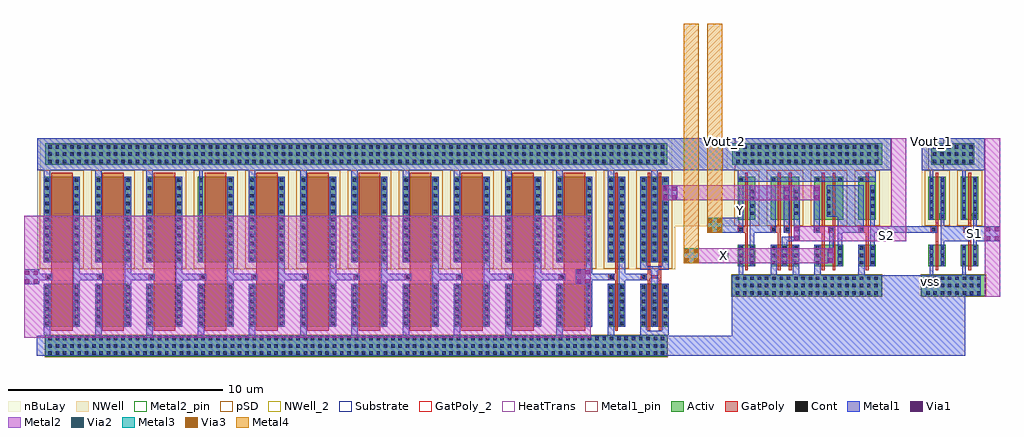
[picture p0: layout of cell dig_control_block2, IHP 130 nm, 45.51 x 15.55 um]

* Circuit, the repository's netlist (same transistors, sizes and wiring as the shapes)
** sch_path: /shared/designs/Layouts/Dig_control/dig_control_block2.sch
.subckt dig_control_block2 Vout_2 vss X Y S2 S1 Vout_1
*.PININFO Vout_2:B vss:B X:I Y:I S2:O S1:O Vout_1:B
M1 net1 net2 vss vss sg13_lv_nmos w=2u l=1u ng=1 m=1
M2 net1 net2 Vout_2 well sg13_lv_pmos w=4u l=1u ng=1 m=1
M3 net3 net1 vss vss sg13_lv_nmos w=2u l=1u ng=1 m=1
M4 net3 net1 Vout_2 well sg13_lv_pmos w=4u l=1u ng=1 m=1
M5 net4 net3 vss vss sg13_lv_nmos w=2u l=1u ng=1 m=1
M6 net4 net3 Vout_2 well sg13_lv_pmos w=4u l=1u ng=1 m=1
M7 net5 net4 vss vss sg13_lv_nmos w=2u l=1u ng=1 m=1
M8 net5 net4 Vout_2 well sg13_lv_pmos w=4u l=1u ng=1 m=1
M9 net6 net5 vss vss sg13_lv_nmos w=2u l=1u ng=1 m=1
M10 net6 net5 Vout_2 well sg13_lv_pmos w=4u l=1u ng=1 m=1
M11 net7 net6 vss vss sg13_lv_nmos w=2u l=1u ng=1 m=1
M12 net7 net6 Vout_2 well sg13_lv_pmos w=4u l=1u ng=1 m=1
M13 net8 net7 vss vss sg13_lv_nmos w=2u l=1u ng=1 m=1
M14 net8 net7 Vout_2 well sg13_lv_pmos w=4u l=1u ng=1 m=1
M15 net9 net8 vss vss sg13_lv_nmos w=2u l=1u ng=1 m=1
M16 net9 net8 Vout_2 well sg13_lv_pmos w=4u l=1u ng=1 m=1
M17 net10 net9 vss vss sg13_lv_nmos w=2u l=1u ng=1 m=1
M18 net10 net9 Vout_2 well sg13_lv_pmos w=4u l=1u ng=1 m=1
M19 net11 net10 vss vss sg13_lv_nmos w=2u l=1u ng=1 m=1
M20 net11 net10 Vout_2 well sg13_lv_pmos w=4u l=1u ng=1 m=1
M21 net2 net11 vss vss sg13_lv_nmos w=2u l=1u ng=1 m=1
M22 net2 net11 Vout_2 well sg13_lv_pmos w=4u l=1u ng=1 m=1
M23 net12 net2 vss vss sg13_lv_nmos w=2u l=0.13u ng=1 m=1
M24 net12 net2 Vout_2 well sg13_lv_pmos w=4u l=0.13u ng=1 m=1
M26 net13 net12 Vout_2 well sg13_lv_pmos w=8u l=0.13u ng=2 m=1
M25 net13 net12 vss vss sg13_lv_nmos w=4u l=0.13u ng=2 m=1
R1 Vout_2 well ntap1 A=2.9e-11 P=6e-05
M27 net15 X Vout_2 well sg13_lv_pmos w=2u l=0.13u ng=1 m=1
M28 net15 net13 Vout_2 well sg13_lv_pmos w=2u l=0.13u ng=1 m=1
M29 net15 X net17 vss sg13_lv_nmos w=1u l=0.13u ng=1 m=1
M30 net17 net13 vss vss sg13_lv_nmos w=1u l=0.13u ng=1 m=1
M31 net14 net15 Vout_2 well sg13_lv_pmos w=2u l=0.13u ng=1 m=1
M32 net14 net15 vss vss sg13_lv_nmos w=1u l=0.13u ng=1 m=1
M33 net16 Y Vout_2 well sg13_lv_pmos w=2u l=0.13u ng=1 m=1
M34 net16 Y vss vss sg13_lv_nmos w=1u l=0.13u ng=1 m=1
M35 net18 net16 Vout_2 well sg13_lv_pmos w=2u l=0.13u ng=1 m=1
M36 S2 net13 net18 well sg13_lv_pmos w=2u l=0.13u ng=1 m=1
M37 S2 net16 vss vss sg13_lv_nmos w=1u l=0.13u ng=1 m=1
M38 S2 net13 vss vss sg13_lv_nmos w=1u l=0.13u ng=1 m=1
R2 Vout_2 well ntap1 A=7e-12 P=1.6e-05
M39 net19 net14 Vout_1 well_1 sg13_lv_pmos w=2u l=0.13u ng=1 m=1
M40 net19 net14 vss vss sg13_lv_nmos w=1u l=0.13u ng=1 m=1
M41 S1 net19 Vout_1 well_1 sg13_lv_pmos w=2u l=0.13u ng=1 m=1
M42 S1 net19 vss vss sg13_lv_nmos w=1u l=0.13u ng=1 m=1
R3 Vout_1 well_1 ntap1 A=2e-12 P=6e-06
.ends

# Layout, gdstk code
import gdstk
lib = gdstk.Library(unit=1e-6, precision=5e-09)
def R(c, l, rs):  # rectangles x0, y0, x1, y1
    for r in rs: c.add(gdstk.rectangle(r[:2], r[2:], *l))
def A(c, l, x, y, w, h, nx, ny, dx, dy):  # array of equal rectangles
    R(c, l, [(x+i*dx, y+j*dy, x+i*dx+w, y+j*dy+h) for i in range(nx) for j in range(ny)])
def P(c, l, *ps):  # polygons
    for p in ps: c.add(gdstk.Polygon(p, *l))
Activ = (1, 0)
GatPoly = (5, 0)
GatPoly_2 = (5, 2)
Cont = (6, 0)
Metal1 = (8, 0)
Metal1_pin = (8, 2)
Metal2 = (10, 0)
Metal2_pin = (10, 2)
pSD = (14, 0)
Via1 = (19, 0)
Via2 = (29, 0)
Metal3 = (30, 0)
NWell = (31, 0)
NWell_2 = (31, 2)
nBuLay = (32, 0)
Substrate = (40, 0)
Via3 = (49, 0)
Metal4 = (50, 0)
HeatTrans = (51, 0)

via_stack = lib.new_cell('via_stack')
R(via_stack, Metal1, [(-0.145,-0.35,0.145,0.35)])
R(via_stack, Metal2, [(-0.145,-0.35,0.145,0.35)])
R(via_stack, Via1, [(-0.095,-0.3,0.095,-0.11), (-0.095,0.11,0.095,0.3)])

ntap1 = lib.new_cell('ntap1')
R(ntap1, Activ, [(0,0,7,1)])
A(ntap1, Cont, 0.19, 0.08, 0.16, 0.16, 20, 3, 0.34, 0.34)
R(ntap1, Metal1, [(0.19,0.03,6.81,0.97)])
R(ntap1, Metal1_pin, [(0.19,0.03,6.81,0.97), (0.19,0.08,6.81,0.92)])
R(ntap1, NWell, [(-0.24,-0.24,7.24,1.24), (0,0,7,1)])
R(ntap1, NWell_2, [(0,0,7,1)])
R(ntap1, nBuLay, [(-0.24,-0.24,7.24,1.24)])
ntap1.add(gdstk.Label('well', (3.5,0.01), layer=31, texttype=0))
ntap1.add(gdstk.Label('well', (3.5,0.01), layer=63, texttype=0))

pmos = lib.new_cell('pmos')
R(pmos, Activ, [(0,0,0.3,0.3), (0,0,0.81,2), (0.51,0,0.81,0.3)])
R(pmos, GatPoly, [(0.34,-0.18,0.47,2.18), (0.34,-0.18,0.47,2.18)])
A(pmos, Cont, 0.07, 0.07, 0.16, 0.16, 1, 6, 0, 0.34)
A(pmos, Cont, 0.58, 0.07, 0.16, 0.16, 1, 6, 0, 0.34)
R(pmos, Metal1, [(0.07,0,0.23,2), (0.07,0,0.23,2), (0.58,0,0.74,2), (0.58,0,0.74,2)])
R(pmos, pSD, [(-0.18,-0.3,0.99,2.3)])
R(pmos, NWell, [(-0.31,-0.31,1.12,2.31)])
R(pmos, Substrate, [(0.51,0,0.81,0.3)])
R(pmos, HeatTrans, [(0.34,-0.18,0.47,2.18)])
pmos.add(gdstk.Label('pmos', (0.405,1), layer=63, texttype=0))
pmos.add(gdstk.Label('pmos', (0.405,1), layer=51, texttype=0))

nmos = lib.new_cell('nmos')
R(nmos, Activ, [(0,0,0.3,0.3), (0,0,0.81,1), (0.51,0,0.81,0.3)])
R(nmos, GatPoly, [(0.34,-0.18,0.47,1.18)])
R(nmos, GatPoly_2, [(0.34,-0.18,0.47,1.18)])
A(nmos, Cont, 0.07, 0.07, 0.16, 0.16, 1, 3, 0, 0.35)
A(nmos, Cont, 0.58, 0.07, 0.16, 0.16, 1, 3, 0, 0.35)
R(nmos, Metal1, [(0.07,0,0.23,1), (0.58,0,0.74,1)])
R(nmos, Metal1_pin, [(0.07,0,0.23,1), (0.58,0,0.74,1)])
R(nmos, HeatTrans, [(0.34,-0.18,0.47,1.18)])
nmos.add(gdstk.Label('nmos', (0.405,0.5), layer=63, texttype=0))
nmos.add(gdstk.Label('nmos', (0.405,0.5), layer=51, texttype=0))

ntap1_1 = lib.new_cell('ntap1$1')
R(ntap1_1, Activ, [(0,0,2,1)])
A(ntap1_1, Cont, 0.07, 0.08, 0.16, 0.16, 6, 3, 0.34, 0.34)
R(ntap1_1, Metal1, [(0.07,0.03,1.93,0.97)])
R(ntap1_1, Metal1_pin, [(0.07,0.03,1.93,0.97), (0.07,0.08,1.93,0.92)])
R(ntap1_1, NWell, [(-0.24,-0.24,2.24,1.24), (0,0,2,1)])
R(ntap1_1, NWell_2, [(0,0,2,1)])
R(ntap1_1, nBuLay, [(-0.24,-0.24,2.24,1.24)])
ntap1_1.add(gdstk.Label('well', (1,0.01), layer=31, texttype=0))
ntap1_1.add(gdstk.Label('well', (1,0.01), layer=63, texttype=0))

nmos_1 = lib.new_cell('nmos$1')
R(nmos_1, Activ, [(0,0,0.3,0.3), (0,0,1.68,2), (1.38,0,1.68,0.3)])
R(nmos_1, GatPoly, [(0.34,-0.18,1.34,2.18)])
R(nmos_1, GatPoly_2, [(0.34,-0.18,1.34,2.18)])
A(nmos_1, Cont, 0.07, 0.07, 0.16, 0.16, 1, 6, 0, 0.34)
A(nmos_1, Cont, 1.45, 0.07, 0.16, 0.16, 1, 6, 0, 0.34)
R(nmos_1, Metal1, [(0.07,0,0.23,2), (1.45,0,1.61,2)])
R(nmos_1, Metal1_pin, [(0.07,0,0.23,2), (1.45,0,1.61,2)])
R(nmos_1, HeatTrans, [(0.34,-0.18,1.34,2.18)])
nmos_1.add(gdstk.Label('nmos', (0.84,1), layer=63, texttype=0))
nmos_1.add(gdstk.Label('nmos', (0.84,1), layer=51, texttype=0))

pmos_1 = lib.new_cell('pmos$1')
R(pmos_1, Activ, [(0,0,0.3,0.3), (0,0,1.68,4), (1.38,0,1.68,0.3)])
R(pmos_1, GatPoly, [(0.34,-0.18,1.34,4.18), (0.34,-0.18,1.34,4.18)])
A(pmos_1, Cont, 0.07, 0.07, 0.16, 0.16, 1, 11, 0, 0.37)
A(pmos_1, Cont, 1.45, 0.07, 0.16, 0.16, 1, 11, 0, 0.37)
R(pmos_1, Metal1, [(0.07,0,0.23,4), (0.07,0,0.23,4), (1.45,0,1.61,4), (1.45,0,1.61,4)])
R(pmos_1, pSD, [(-0.18,-0.3,1.86,4.3)])
R(pmos_1, NWell, [(-0.31,-0.31,1.99,4.31)])
R(pmos_1, Substrate, [(1.38,0,1.68,0.3)])
R(pmos_1, HeatTrans, [(0.34,-0.18,1.34,4.18)])
pmos_1.add(gdstk.Label('pmos', (0.84,2), layer=63, texttype=0))
pmos_1.add(gdstk.Label('pmos', (0.84,2), layer=51, texttype=0))

via_stack_1 = lib.new_cell('via_stack$1')
R(via_stack_1, Metal1, [(-0.35,-0.35,0.35,0.35)])
R(via_stack_1, Metal2, [(-0.35,-0.35,0.35,0.35)])
R(via_stack_1, Via1, [(-0.3,-0.3,-0.11,-0.11), (0.11,-0.3,0.3,-0.11), (-0.3,0.11,-0.11,0.3), (0.11,0.11,0.3,0.3)])

nmos_2 = lib.new_cell('nmos$2')
A(nmos_2, Activ, 0, 0, 0.3, 0.3, 3, 1, 0.51, 0)
R(nmos_2, Activ, [(0,0,1.32,2)])
R(nmos_2, GatPoly, [(0.34,-0.18,0.47,2.18), (0.85,-0.18,0.98,2.18)])
R(nmos_2, GatPoly_2, [(0.34,-0.18,0.47,2.18)])
A(nmos_2, Cont, 0.07, 0.07, 0.16, 0.16, 3, 6, 0.51, 0.34)
A(nmos_2, Metal1, 0.07, 0, 0.16, 2, 3, 1, 0.51, 0)
R(nmos_2, Metal1_pin, [(0.07,0,0.23,2), (0.58,0,0.74,2)])
R(nmos_2, HeatTrans, [(0.34,-0.18,0.47,2.18), (0.85,-0.18,0.98,2.18)])
nmos_2.add(gdstk.Label('nmos', (0.405,1), layer=63, texttype=0))
nmos_2.add(gdstk.Label('nmos', (0.405,1), layer=51, texttype=0))
nmos_2.add(gdstk.Label('nmos', (0.915,1), layer=51, texttype=0))

pmos_2 = lib.new_cell('pmos$2')
A(pmos_2, Activ, 0, 0, 0.3, 0.3, 3, 1, 0.51, 0)
R(pmos_2, Activ, [(0,0,1.32,4)])
R(pmos_2, GatPoly, [(0.34,-0.18,0.47,4.18), (0.34,-0.18,0.47,4.18), (0.85,-0.18,0.98,4.18)])
A(pmos_2, Cont, 0.07, 0.07, 0.16, 0.16, 3, 11, 0.51, 0.37)
R(pmos_2, Metal1, [(0.07,0,0.23,4), (0.07,0,0.23,4), (0.58,0,0.74,4), (0.58,0,0.74,4), (1.09,0,1.25,4)])
R(pmos_2, pSD, [(-0.18,-0.3,1.5,4.3)])
R(pmos_2, NWell, [(-0.31,-0.31,1.63,4.31)])
R(pmos_2, Substrate, [(1.02,0,1.32,0.3)])
R(pmos_2, HeatTrans, [(0.34,-0.18,0.47,4.18), (0.85,-0.18,0.98,4.18)])
pmos_2.add(gdstk.Label('pmos', (0.405,2), layer=63, texttype=0))
pmos_2.add(gdstk.Label('pmos', (0.405,2), layer=51, texttype=0))
pmos_2.add(gdstk.Label('pmos', (0.915,2), layer=51, texttype=0))

nmos_3 = lib.new_cell('nmos$3')
R(nmos_3, Activ, [(0,0,0.3,0.3), (0,0,0.81,2), (0.51,0,0.81,0.3)])
R(nmos_3, GatPoly, [(0.34,-0.18,0.47,2.18)])
R(nmos_3, GatPoly_2, [(0.34,-0.18,0.47,2.18)])
A(nmos_3, Cont, 0.07, 0.07, 0.16, 0.16, 1, 6, 0, 0.34)
A(nmos_3, Cont, 0.58, 0.07, 0.16, 0.16, 1, 6, 0, 0.34)
R(nmos_3, Metal1, [(0.07,0,0.23,2), (0.58,0,0.74,2)])
R(nmos_3, Metal1_pin, [(0.07,0,0.23,2), (0.58,0,0.74,2)])
R(nmos_3, HeatTrans, [(0.34,-0.18,0.47,2.18)])
nmos_3.add(gdstk.Label('nmos', (0.405,1), layer=63, texttype=0))
nmos_3.add(gdstk.Label('nmos', (0.405,1), layer=51, texttype=0))

pmos_3 = lib.new_cell('pmos$3')
R(pmos_3, Activ, [(0,0,0.3,0.3), (0,0,0.81,4), (0.51,0,0.81,0.3)])
R(pmos_3, GatPoly, [(0.34,-0.18,0.47,4.18), (0.34,-0.18,0.47,4.18)])
A(pmos_3, Cont, 0.07, 0.07, 0.16, 0.16, 1, 11, 0, 0.37)
A(pmos_3, Cont, 0.58, 0.07, 0.16, 0.16, 1, 11, 0, 0.37)
R(pmos_3, Metal1, [(0.07,0,0.23,4), (0.07,0,0.23,4), (0.58,0,0.74,4), (0.58,0,0.74,4)])
R(pmos_3, pSD, [(-0.18,-0.3,0.99,4.3)])
R(pmos_3, NWell, [(-0.31,-0.31,1.12,4.31)])
R(pmos_3, Substrate, [(0.51,0,0.81,0.3)])
R(pmos_3, HeatTrans, [(0.34,-0.18,0.47,4.18)])
pmos_3.add(gdstk.Label('pmos', (0.405,2), layer=63, texttype=0))
pmos_3.add(gdstk.Label('pmos', (0.405,2), layer=51, texttype=0))

ntap1_2 = lib.new_cell('ntap1$2')
R(ntap1_2, Activ, [(0,0,29,1)])
A(ntap1_2, Cont, 0.14, 0.08, 0.16, 0.16, 85, 3, 0.34, 0.34)
R(ntap1_2, Metal1, [(0.14,0.03,28.86,0.97)])
R(ntap1_2, Metal1_pin, [(0.14,0.03,28.86,0.97), (0.14,0.08,28.86,0.92)])
R(ntap1_2, NWell, [(-0.24,-0.24,29.24,1.24), (0,0,29,1)])
R(ntap1_2, NWell_2, [(0,0,29,1)])
R(ntap1_2, nBuLay, [(-0.24,-0.24,29.24,1.24)])
ntap1_2.add(gdstk.Label('well', (14.5,0.01), layer=31, texttype=0))
ntap1_2.add(gdstk.Label('well', (14.5,0.01), layer=63, texttype=0))

via_stack_2 = lib.new_cell('via_stack$2')
R(via_stack_2, Metal1, [(-0.35,-0.35,0.35,0.35)])
R(via_stack_2, Metal2, [(-0.35,-0.35,0.35,0.35)])
R(via_stack_2, Via1, [(-0.3,-0.3,-0.11,-0.11), (0.11,-0.3,0.3,-0.11), (-0.3,0.11,-0.11,0.3), (0.11,0.11,0.3,0.3)])
R(via_stack_2, Via2, [(-0.3,-0.3,-0.11,-0.11), (0.11,-0.3,0.3,-0.11), (-0.3,0.11,-0.11,0.3), (0.11,0.11,0.3,0.3)])
R(via_stack_2, Metal3, [(-0.35,-0.35,0.35,0.35)])
R(via_stack_2, Via3, [(-0.3,-0.3,-0.11,-0.11), (0.11,-0.3,0.3,-0.11), (-0.3,0.11,-0.11,0.3), (0.11,0.11,0.3,0.3)])
R(via_stack_2, Metal4, [(-0.35,-0.35,0.35,0.35)])

via_stack_3 = lib.new_cell('via_stack$3')
R(via_stack_3, Metal2, [(-0.35,-0.35,0.35,0.35)])
R(via_stack_3, Via2, [(-0.3,-0.3,-0.11,-0.11), (0.11,-0.3,0.3,-0.11), (-0.3,0.11,-0.11,0.3), (0.11,0.11,0.3,0.3)])
R(via_stack_3, Metal3, [(-0.35,-0.35,0.35,0.35)])
R(via_stack_3, Via3, [(-0.3,-0.3,-0.11,-0.11), (0.11,-0.3,0.3,-0.11), (-0.3,0.11,-0.11,0.3), (0.11,0.11,0.3,0.3)])
R(via_stack_3, Metal4, [(-0.35,-0.35,0.35,0.35)])

dig_control_block2 = lib.new_cell('dig_control_block2')
R(dig_control_block2, Activ, [(-4.215,-12.435,24.785,-11.435), (27.785,-9.62,34.785,-8.62), (36.62,-9.62,39.62,-8.62), (28.075,-8.23,28.885,-7.23), (29.595,-8.23,30.935,-7.23), (31.645,-8.23,32.985,-7.23), (33.695,-8.23,34.505,-7.23), (28.075,-6.045,28.885,-4.045), (29.595,-6.045,30.935,-4.045), (31.645,-6.045,32.985,-4.045), (33.695,-6.045,34.505,-4.045)])
A(dig_control_block2, GatPoly, -3.945, -11.225, 1, 7.36, 11, 1, 2.39, 0)
A(dig_control_block2, GatPoly, -4.185, -8.865, 0.3, 0.3, 11, 1, 2.39, 0)
R(dig_control_block2, GatPoly, [(22.345,-11.225,22.475,-3.865), (23.865,-11.225,23.995,-3.865), (24.375,-11.225,24.505,-3.865), (22.025,-8.865,22.475,-8.565), (23.535,-8.865,23.995,-8.565), (23.865,-8.78,24.505,-8.65), (37.295,-8.015,37.425,-3.865), (38.815,-8.015,38.945,-3.865), (37.055,-6.655,37.355,-6.355), (38.575,-6.655,38.875,-6.355)])
P(dig_control_block2, GatPoly, [(28.415,-8.41),(28.415,-6.655),(28.075,-6.655),(28.075,-6.355),(28.415,-6.355),(28.415,-3.865),(28.545,-3.865),(28.545,-8.41)],
  [(29.935,-8.41),(29.935,-6.655),(29.595,-6.655),(29.595,-6.355),(29.935,-6.355),(29.935,-3.865),(30.065,-3.865),(30.065,-8.41)],
  [(30.445,-8.41),(30.445,-6.655),(30.245,-6.655),(30.245,-6.355),(30.445,-6.355),(30.445,-3.865),(30.575,-3.865),(30.575,-8.41)],
  [(31.985,-8.41),(31.985,-6.655),(31.645,-6.655),(31.645,-6.355),(31.985,-6.355),(31.985,-3.865),(32.115,-3.865),(32.115,-8.41)],
  [(32.495,-8.41),(32.495,-6.655),(32.295,-6.655),(32.295,-6.355),(32.495,-6.355),(32.495,-3.865),(32.625,-3.865),(32.625,-8.41)],
  [(34.035,-8.41),(34.035,-6.655),(33.695,-6.655),(33.695,-6.355),(34.035,-6.355),(34.035,-3.865),(34.165,-3.865),(34.165,-8.41)])
A(dig_control_block2, Cont, -4.075, -12.355, 0.16, 0.16, 85, 3, 0.34, 0.34)
A(dig_control_block2, Cont, 27.975, -9.54, 0.16, 0.16, 20, 3, 0.34, 0.34)
A(dig_control_block2, Cont, 36.85, -9.54, 0.16, 0.16, 8, 3, 0.34, 0.34)
A(dig_control_block2, Cont, -4.115, -8.795, 0.16, 0.16, 11, 1, 2.39, 0)
A(dig_control_block2, Cont, 28.145, -8.14, 0.16, 0.16, 1, 3, 0, 0.34)
A(dig_control_block2, Cont, 28.655, -8.14, 0.16, 0.16, 1, 3, 0, 0.34)
A(dig_control_block2, Cont, 29.665, -8.14, 0.16, 0.16, 1, 3, 0, 0.34)
A(dig_control_block2, Cont, 30.175, -8.14, 0.16, 0.16, 1, 3, 0, 0.34)
A(dig_control_block2, Cont, 30.705, -8.14, 0.16, 0.16, 1, 3, 0, 0.34)
A(dig_control_block2, Cont, 31.715, -8.14, 0.16, 0.16, 1, 3, 0, 0.34)
A(dig_control_block2, Cont, 32.755, -8.14, 0.16, 0.16, 1, 3, 0, 0.34)
A(dig_control_block2, Cont, 33.765, -8.14, 0.16, 0.16, 1, 3, 0, 0.34)
A(dig_control_block2, Cont, 34.275, -8.14, 0.16, 0.16, 1, 3, 0, 0.34)
A(dig_control_block2, Cont, 28.655, -5.83, 0.16, 0.16, 1, 4, 0, 0.34)
A(dig_control_block2, Cont, 30.705, -5.83, 0.16, 0.16, 1, 4, 0, 0.34)
A(dig_control_block2, Cont, 32.225, -5.83, 0.16, 0.16, 1, 4, 0, 0.34)
A(dig_control_block2, Cont, 34.275, -5.83, 0.16, 0.16, 1, 4, 0, 0.34)
R(dig_control_block2, Cont, [(22.095,-8.795,22.255,-8.635), (23.605,-8.795,23.765,-8.635), (28.145,-6.585,28.305,-6.425), (29.665,-6.585,29.825,-6.425), (30.315,-6.585,30.475,-6.425), (31.715,-6.585,31.875,-6.425), (32.365,-6.585,32.525,-6.425), (33.765,-6.585,33.925,-6.425), (37.125,-6.585,37.285,-6.425), (38.645,-6.585,38.805,-6.425), (28.145,-4.275,28.305,-4.115), (29.665,-4.275,29.825,-4.115), (31.715,-4.275,31.875,-4.115), (32.755,-4.275,32.915,-4.115), (33.765,-4.275,33.925,-4.115)])
A(dig_control_block2, Metal1, -4.285, -11.64, 0.3, 2.595, 12, 1, 2.39, 0)
A(dig_control_block2, Metal1, -4.285, -8.045, 0.3, 4.38, 3, 1, 2.39, 0)
A(dig_control_block2, Metal1, 5.275, -8.045, 0.3, 4.38, 8, 1, 2.39, 0)
R(dig_control_block2, Metal1, [(-4.61,-12.405,38.67,-11.465), (27.785,-12.405,38.67,-8.65), (27.785,-9.59,38.67,-8.65), (36.85,-9.59,39.39,-8.65), (-5.21,-8.865,-3.885,-8.565), (28.12,-8.845,28.33,-7.23), (29.595,-8.845,29.895,-7.23), (30.635,-8.845,30.935,-7.23), (31.645,-8.845,31.945,-7.23), (33.695,-8.845,33.995,-7.23), (37.025,-8.78,37.185,-7.3), (38.545,-8.78,38.705,-7.3), (34.25,-8.23,34.46,-4.455), (32.34,-8.085,32.55,-6.355), (2.955,-8.045,3.115,-3.665), (24.035,-8.045,24.335,-3.66), (39.055,-7.765,39.215,-4.115), (39.055,-7.055,40.295,-6.355), (26.65,-6.655,28.33,-5.955), (28.12,-6.655,28.33,-4.455), (30.21,-6.655,30.5,-4.455), (31.61,-6.655,31.9,-4.455), (34.25,-6.655,37.355,-6.355), (37.055,-6.655,37.355,-6.355), (37.025,-6.045,37.185,-3.305), (38.545,-6.045,38.705,-3.285), (24.545,-5.155,25.245,-4.455), (28.075,-4.275,34.505,-3.575), (-4.595,-3.735,25.155,-2.255), (-4.595,-3.735,35.23,-2.255), (27.35,-3.735,35.23,-2.255), (36.645,-3.735,39.595,-2.255)])
P(dig_control_block2, Metal1, [(30.125,-8.23),(30.125,-6.835),(30.68,-6.835),(30.68,-4.455),(30.97,-4.455),(30.97,-7.05),(30.385,-7.05),(30.385,-8.23)],
  [(28.63,-8.23),(28.63,-4.455),(29.85,-4.455),(29.85,-6.655),(28.84,-6.655),(28.84,-8.23)],
  [(32.73,-8.23),(32.73,-5.91),(32.225,-5.91),(32.225,-4.455),(33.95,-4.455),(33.95,-6.655),(32.94,-6.655),(32.94,-8.23)],
  [(37.535,-7.835),(37.535,-4.045),(37.695,-4.045),(37.695,-6.355),(38.875,-6.355),(38.875,-7.045),(37.695,-7.045),(37.695,-7.835)],
  [(-2.905,-11.045),(-2.905,-4.045),(-2.605,-4.045),(-2.605,-8.565),(-1.495,-8.565),(-1.495,-8.865),(-2.605,-8.865),(-2.605,-11.045)],
  [(-0.515,-11.045),(-0.515,-4.045),(-0.215,-4.045),(-0.215,-8.565),(0.895,-8.565),(0.895,-8.865),(-0.215,-8.865),(-0.215,-11.045)],
  [(1.875,-11.045),(1.875,-4.045),(2.175,-4.045),(2.175,-8.565),(3.285,-8.565),(3.285,-8.865),(2.175,-8.865),(2.175,-11.045)],
  [(4.265,-11.045),(4.265,-4.045),(4.565,-4.045),(4.565,-8.565),(5.675,-8.565),(5.675,-8.865),(4.565,-8.865),(4.565,-11.045)],
  [(6.655,-11.045),(6.655,-4.045),(6.955,-4.045),(6.955,-8.565),(8.065,-8.565),(8.065,-8.865),(6.955,-8.865),(6.955,-11.045)],
  [(9.045,-11.045),(9.045,-4.045),(9.345,-4.045),(9.345,-8.565),(10.455,-8.565),(10.455,-8.865),(9.345,-8.865),(9.345,-11.045)],
  [(11.435,-11.045),(11.435,-4.045),(11.735,-4.045),(11.735,-8.565),(12.845,-8.565),(12.845,-8.865),(11.735,-8.865),(11.735,-11.045)],
  [(13.825,-11.045),(13.825,-4.045),(14.125,-4.045),(14.125,-8.565),(15.235,-8.565),(15.235,-8.865),(14.125,-8.865),(14.125,-11.045)],
  [(16.215,-11.045),(16.215,-4.045),(16.515,-4.045),(16.515,-8.565),(17.625,-8.565),(17.625,-8.865),(16.515,-8.865),(16.515,-11.045)],
  [(18.605,-11.045),(18.605,-4.045),(18.905,-4.045),(18.905,-8.565),(20.015,-8.565),(20.015,-8.865),(18.905,-8.865),(18.905,-11.045)],
  [(22.515,-11.045),(22.515,-4.045),(22.815,-4.045),(22.815,-8.565),(23.835,-8.565),(23.835,-8.865),(22.815,-8.865),(22.815,-11.045)],
  [(20.995,-11.045),(20.995,-4.045),(21.295,-4.045),(21.295,-8.565),(22.315,-8.565),(22.315,-8.865),(21.295,-8.865),(21.295,-11.045)],
  [(23.525,-11.7),(23.525,-9.045),(23.825,-9.045),(23.825,-11.225),(24.545,-11.225),(24.545,-9.045),(24.845,-9.045),(24.845,-11.7)],
  [(24.035,-11.045),(24.035,-8.385),(23.525,-8.385),(23.525,-4.045),(23.825,-4.045),(23.825,-8.225),(24.545,-8.225),(24.545,-4.045),(24.845,-4.045),(24.845,-8.385),(24.335,-8.385),(24.335,-11.045)])
R(dig_control_block2, Metal1_pin, [(36.85,-9.1,37.31,-8.65), (39.055,-7.835,39.215,-4.045), (28.12,-6.655,28.33,-4.455), (37.055,-6.655,37.355,-6.355), (27.35,-3.735,27.94,-2.255), (36.945,-3.735,37.665,-2.255)])
R(dig_control_block2, Metal2, [(-5.21,-11.565,21.225,-5.865), (39.595,-9.65,40.295,-2.255), (25.55,-8.085,32.55,-7.385), (30.68,-7.05,35.925,-6.35), (35.225,-7.05,35.925,-2.255), (24.545,-5.155,31.9,-4.455)])
R(dig_control_block2, Metal2_pin, [(27.25,-7.87,27.63,-7.595), (34.69,-6.925,35.17,-6.525)])
R(dig_control_block2, pSD, [(-4.245,-12.465,24.815,-11.405), (27.755,-9.65,34.815,-8.59), (36.59,-9.65,39.65,-8.59), (27.895,-6.345,29.065,-3.745), (29.415,-6.345,31.115,-3.745), (31.465,-6.345,33.165,-3.745), (33.515,-6.345,34.685,-3.745)])
R(dig_control_block2, NWell, [(-4.595,-8.355,25.155,-2.255), (-4.595,-6.355,35.23,-2.255), (27.35,-6.355,35.23,-2.255), (36.645,-6.355,39.595,-2.255)])
R(dig_control_block2, Metal4, [(25.55,-8.085,26.25,3.085), (26.65,-6.655,27.35,3.085)])
dig_control_block2.add(gdstk.Reference(via_stack, (31.755,-4.805)))
dig_control_block2.add(gdstk.Reference(via_stack, (30.355,-4.805)))
dig_control_block2.add(gdstk.Reference(ntap1, (27.8,-3.495)))
dig_control_block2.add(gdstk.Reference(via_stack, (32.405,-7.735)))
dig_control_block2.add(gdstk.Reference(via_stack, (30.825,-6.7)))
dig_control_block2.add(gdstk.Reference(pmos, (36.955,-6.045)))
dig_control_block2.add(gdstk.Reference(nmos, (38.475,-8.23)))
dig_control_block2.add(gdstk.Reference(pmos, (38.475,-6.045)))
dig_control_block2.add(gdstk.Reference(nmos, (36.955,-8.23)))
dig_control_block2.add(gdstk.Reference(ntap1_1, (37.095,-3.495)))
dig_control_block2.add(gdstk.Reference(nmos_1, (-4.285,-11.045)))
dig_control_block2.add(gdstk.Reference(pmos_1, (-4.285,-8.045)))
dig_control_block2.add(gdstk.Reference(nmos_1, (-1.895,-11.045)))
dig_control_block2.add(gdstk.Reference(pmos_1, (-1.895,-8.045)))
dig_control_block2.add(gdstk.Reference(nmos_1, (0.495,-11.045)))
dig_control_block2.add(gdstk.Reference(pmos_1, (0.495,-8.045)))
dig_control_block2.add(gdstk.Reference(nmos_1, (2.885,-11.045)))
dig_control_block2.add(gdstk.Reference(pmos_1, (2.885,-8.045)))
dig_control_block2.add(gdstk.Reference(nmos_1, (5.275,-11.045)))
dig_control_block2.add(gdstk.Reference(pmos_1, (5.275,-8.045)))
dig_control_block2.add(gdstk.Reference(nmos_1, (7.665,-11.045)))
dig_control_block2.add(gdstk.Reference(pmos_1, (7.665,-8.045)))
dig_control_block2.add(gdstk.Reference(nmos_1, (10.055,-11.045)))
dig_control_block2.add(gdstk.Reference(pmos_1, (10.055,-8.045)))
dig_control_block2.add(gdstk.Reference(nmos_1, (12.445,-11.045)))
dig_control_block2.add(gdstk.Reference(pmos_1, (12.445,-8.045)))
dig_control_block2.add(gdstk.Reference(nmos_1, (14.835,-11.045)))
dig_control_block2.add(gdstk.Reference(pmos_1, (14.835,-8.045)))
dig_control_block2.add(gdstk.Reference(nmos_1, (17.225,-11.045)))
dig_control_block2.add(gdstk.Reference(pmos_1, (17.225,-8.045)))
dig_control_block2.add(gdstk.Reference(nmos_1, (19.615,-11.045)))
dig_control_block2.add(gdstk.Reference(pmos_1, (19.615,-8.045)))
dig_control_block2.add(gdstk.Reference(via_stack_1, (20.875,-8.715)))
dig_control_block2.add(gdstk.Reference(nmos_2, (23.525,-11.045)))
dig_control_block2.add(gdstk.Reference(pmos_2, (23.525,-8.045)))
dig_control_block2.add(gdstk.Reference(nmos_3, (22.005,-11.045)))
dig_control_block2.add(gdstk.Reference(pmos_3, (22.005,-8.045)))
dig_control_block2.add(gdstk.Reference(ntap1_2, (-4.22,-3.495)))
dig_control_block2.add(gdstk.Reference(via_stack_1, (-4.86,-8.72)))
dig_control_block2.add(gdstk.Reference(via_stack_2, (27,-6.305)))
dig_control_block2.add(gdstk.Reference(via_stack_3, (25.9,-7.735)))
dig_control_block2.add(gdstk.Reference(via_stack_1, (39.945,-6.705)))
dig_control_block2.add(gdstk.Reference(via_stack_1, (24.895,-4.805)))
dig_control_block2.add(gdstk.Label('Vout_2', (27.43,-2.395), layer=8, texttype=25))
dig_control_block2.add(gdstk.Label('Y', (28.185,-5.6), layer=8, texttype=25))
dig_control_block2.add(gdstk.Label('vss', (37.035,-8.93), layer=8, texttype=25))
dig_control_block2.add(gdstk.Label('Vout_1', (37.095,-2.405), layer=8, texttype=25))
dig_control_block2.add(gdstk.Label('S1', (39.125,-6.71), layer=8, texttype=25))
dig_control_block2.add(gdstk.Label('X', (27.42,-7.705), layer=10, texttype=25))
dig_control_block2.add(gdstk.Label('S2', (35.015,-6.77), layer=10, texttype=25))

lib.write_gds('dig_control_block2.gds')
